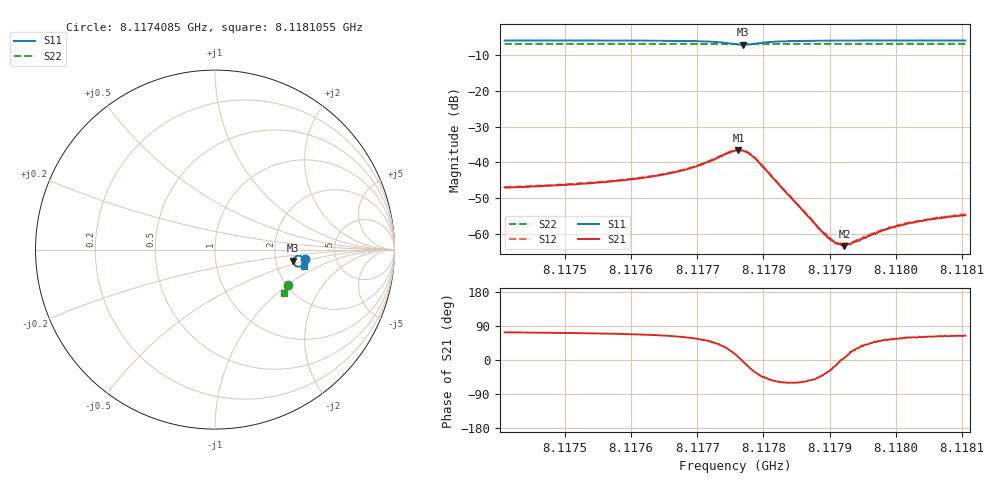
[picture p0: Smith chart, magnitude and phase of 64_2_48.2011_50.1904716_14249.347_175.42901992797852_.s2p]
#  HZ  S  RI  R  50.00
! Rohde & Schwarz Vector Network Analyzer
! Rohde-Schwarz,ZNB20-2Port,1311601062101988,3.16
! Created: UTC 3/20/2024, 11:38:54 AM
! freq[Hz]  re:S11  im:S11  re:S21  im:S21  re:S12  im:S12  re:S22  im:S22
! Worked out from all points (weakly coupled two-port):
!   401 points, 8.1174085 GHz to 8.1181055 GHz, reference 50 ohm
!   highest |S21| = -36.56 dB at 8.1177623 GHz (marker M1); lowest = -63.4 dB at 8.1179226 GHz (marker M2)
!   lowest |S11| = -7.1 dB at 8.1177692 GHz (marker M3), VSWR 2.57, Z = 125 - j19.1 ohm
!   |S11| at or under -10 dB: nowhere
!   |S22| runs from -6.9 to -6.9 dB; largest |S21 - S12| = 0.00049
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8.11740853e9  0.5028 -0.0499  0.00131 0.00428  0.00139 0.00431  0.4071 -0.1962
8.11752528e9  0.5008 -0.0612  0.00168 0.00473  0.00174 0.00484  0.4038 -0.2036
8.11758626e9  0.499 -0.0682  0.00203 0.00523  0.00212 0.00529  0.4019 -0.2077
8.11764202e9  0.4957 -0.0762  0.00277 0.00597  0.00288 0.00609  0.4 -0.2114
8.1176943e9  0.4877 -0.0871  0.00461 0.00722  0.00476 0.00731  0.3981 -0.2147
8.11775703e9  0.4409 -0.083  0.0141 0.00393  0.0144 0.0037  0.3943 -0.2178
8.11776226e9  0.4367 -0.0748  0.0148 0.00179  0.0149 0.00173  0.3939 -0.2176
8.11776923e9  0.4353 -0.0615  0.0145 -0.00101  0.0147 -0.00118  0.3939 -0.2175
8.11777968e9  0.4437 -0.0435  0.0121 -0.00475  0.0123 -0.00499  0.394 -0.2175
8.11779188e9  0.4607 -0.0345  0.00825 -0.00617  0.00831 -0.00649  0.3946 -0.218
8.1178215e9  0.4868 -0.0418  0.00279 -0.0043  0.0028 -0.00442  0.3948 -0.2204
8.11787378e9  0.497 -0.0587  0.000923 -0.0012  0.000951 -0.00124  0.3934 -0.2244
8.11788249e9  0.4975 -0.0608  0.000856 -0.000875  0.000865 -0.000913  0.3932 -0.2248
8.11789469e9  0.498 -0.0633  0.000787 -0.000552  0.000824 -0.000553  0.3926 -0.2257
8.1179034e9  0.4982 -0.0648  0.000743 -0.000333  0.000763 -0.000329  0.3926 -0.2264
8.1179156e9  0.4985 -0.067  0.000731 -4.13e-05  0.000732 -6.48e-05  0.3921 -0.2273
8.11792257e9  0.4985 -0.0681  0.000673 6.88e-05  0.000741 8.11e-05  0.3917 -0.2277
8.11793128e9  0.4986 -0.0695  0.000665 0.000261  0.000696 0.000228  0.3916 -0.2281
8.11795916e9  0.4986 -0.0733  0.000698 0.000628  0.000716 0.000655  0.3908 -0.2301
8.11799052e9  0.4985 -0.0772  0.000713 0.000963  0.000771 0.000986  0.3895 -0.232
8.11804628e9  0.4978 -0.0831  0.000746 0.00136  0.000795 0.00137  0.3877 -0.2355
8.11810553e9  0.497 -0.0888  0.000798 0.00166  0.000837 0.00171  0.3858 -0.2391
